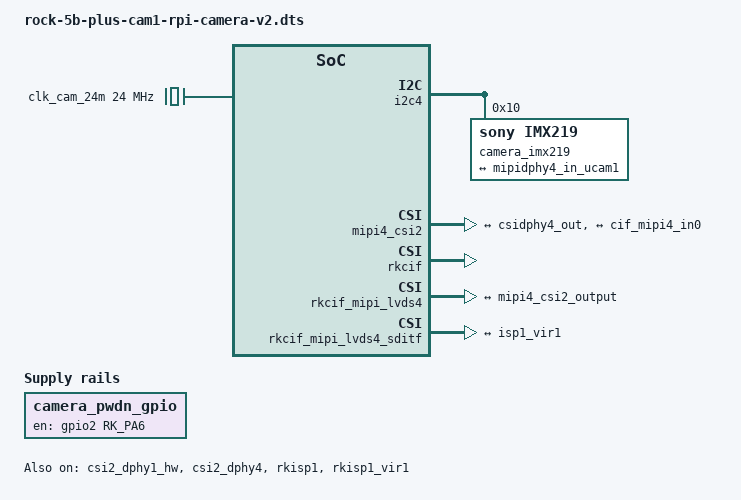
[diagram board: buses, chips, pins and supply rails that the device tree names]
/dts-v1/;
/plugin/;

#include <dt-bindings/gpio/gpio.h>
#include <dt-bindings/pinctrl/rockchip.h>

/ {
	metadata {
		title ="Enable Raspberry Pi Camera V2 on CAM1";
		compatible = "radxa,rock-5b-plus";
		category = "camera";
		exclusive = "csi2_dphy4";
		description = "Enable Raspberry Pi Camera V2 on CAM1.";
	};
};

&{/} {
	camera_pwdn_gpio: camera-pwdn-gpio {
		compatible = "regulator-fixed";
		regulator-name = "camera_pwdn_gpio";
		regulator-always-on;
		regulator-boot-on;
		enable-active-high;
		gpio = <&gpio2 RK_PA6 GPIO_ACTIVE_HIGH>;
		pinctrl-names = "default";
		pinctrl-0 = <&cam_pwdn_gpio>;
	};

	clk_cam_24m: external-camera-clock-24m {
		compatible = "fixed-clock";
		clock-frequency = <24000000>;
		clock-output-names = "clk_cam_24m";
		#clock-cells = <0>;
	};
};

&i2c4 {
	pinctrl-names = "default";
	pinctrl-0 = <&i2c4m1_xfer>;
	status = "okay";
	#address-cells = <1>;
	#size-cells = <0>;

	camera_imx219: camera-imx219@10 {
		compatible = "sony,imx219";
		reg = <0x10>;

		clocks = <&clk_cam_24m>;
		clock-names = "xvclk";

		rockchip,camera-module-index = <0>;
		rockchip,camera-module-facing = "back";
		rockchip,camera-module-name = "rpi-camera-v2";
		rockchip,camera-module-lens-name = "default";

		port {
			imx219_out4: endpoint {
				remote-endpoint = <&mipidphy4_in_ucam1>;
				data-lanes = <1 2>;
			};
		};
	};
};

&csi2_dphy1_hw {
	status = "okay";
};

&csi2_dphy4 {
	status = "okay";

	ports {
		#address-cells = <1>;
		#size-cells = <0>;

		port@0 {
			reg = <0>;
			#address-cells = <1>;
			#size-cells = <0>;

			mipidphy4_in_ucam1: endpoint@2 {
				reg = <2>;
				remote-endpoint = <&imx219_out4>;
				data-lanes = <1 2>;
			};
		};

		port@1 {
			reg = <1>;
			#address-cells = <1>;
			#size-cells = <0>;

			csidphy4_out: endpoint@0 {
				reg = <0>;
				remote-endpoint = <&mipi4_csi2_input>;
			};
		};
	};
};

&mipi4_csi2 {
	status = "okay";

	ports {
		#address-cells = <1>;
		#size-cells = <0>;

		port@0 {
			reg = <0>;
			#address-cells = <1>;
			#size-cells = <0>;

			mipi4_csi2_input: endpoint@1 {
				reg = <1>;
				remote-endpoint = <&csidphy4_out>;
			};
		};

		port@1 {
			reg = <1>;
			#address-cells = <1>;
			#size-cells = <0>;

			mipi4_csi2_output: endpoint@0 {
				reg = <0>;
				remote-endpoint = <&cif_mipi4_in0>;
			};
		};
	};
};

&rkcif {
	status = "okay";
};

&rkcif_mipi_lvds4 {
	status = "okay";

	port {
		cif_mipi4_in0: endpoint {
			remote-endpoint = <&mipi4_csi2_output>;
		};
	};
};

&rkcif_mipi_lvds4_sditf {
	status = "okay";

	port {
		mipi_lvds4_sditf: endpoint {
			remote-endpoint = <&isp1_vir1>;
		};
	};
};

&rkcif_mmu {
	status = "okay";
};

&isp1_mmu {
	status = "okay";
};

&rkisp1 {
	status = "okay";
};

&rkisp1_vir1 {
	status = "okay";

	port {
		#address-cells = <1>;
		#size-cells = <0>;

		isp1_vir1: endpoint@0 {
			reg = <0>;
			remote-endpoint = <&mipi_lvds4_sditf>;
		};
	};
};

&pinctrl {
	camera {
		cam_pwdn_gpio: cam-pwdn-gpio {
			rockchip,pins = <2 RK_PA6 RK_FUNC_GPIO &pcfg_pull_up>;
		};
	};
};
